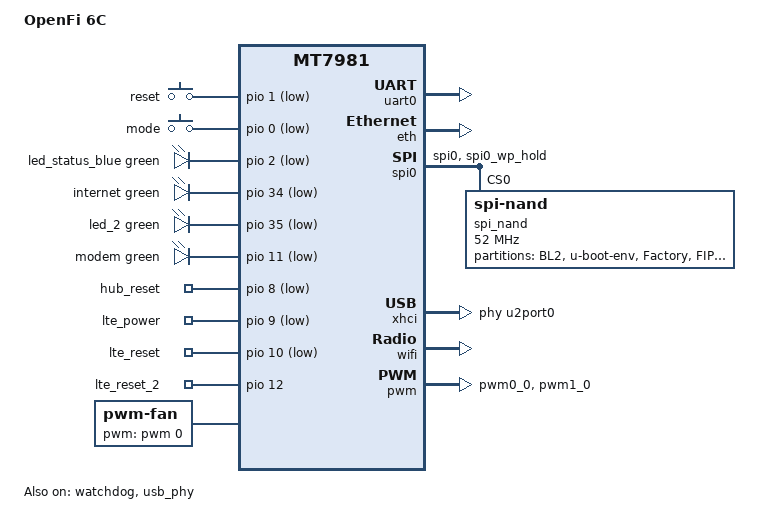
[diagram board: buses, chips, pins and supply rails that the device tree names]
// SPDX-License-Identifier: (GPL-2.0 OR MIT)

/dts-v1/;

#include <dt-bindings/leds/common.h>

#include "mt7981.dtsi"

/ {
	model = "OpenFi 6C";
	compatible = "openfi,6c", "mediatek,mt7981-spim-snand-rfb";

	aliases {
		label-mac-device = &gmac1;
		led-boot = &led_status_blue;
		led-failsafe = &led_status_blue;
		led-running = &led_status_blue;
		led-upgrade = &led_status_blue;
		serial0 = &uart0;
	};

	chosen {
		stdout-path = "serial0:115200n8";
	};

	gpio-keys {
		compatible = "gpio-keys";

		reset {
			label = "reset";
			linux,code = <KEY_RESTART>;
			gpios = <&pio 1 GPIO_ACTIVE_LOW>;
		};

		mode {
			label = "mode";
			linux,input-type = <EV_SW>;
			linux,code = <BTN_0>;
			gpios = <&pio 0 GPIO_ACTIVE_LOW>;
			debounce-interval = <60>;
		};
	};

	leds {
		compatible = "gpio-leds";

		led_status_blue:led_0 {
			function = LED_FUNCTION_STATUS;
			color = <LED_COLOR_ID_GREEN>;
			gpios = <&pio 2 GPIO_ACTIVE_LOW>;
		};

		led_1 {
			label = "internet";
			color = <LED_COLOR_ID_GREEN>;
			gpios = <&pio 34 GPIO_ACTIVE_LOW>;
		};

		led_2 {
			function = LED_FUNCTION_WLAN;
			color = <LED_COLOR_ID_GREEN>;
			gpios = <&pio 35 GPIO_ACTIVE_LOW>;
		};

		led_3 {
			label = "modem";
			color = <LED_COLOR_ID_GREEN>;
			gpios = <&pio 11 GPIO_ACTIVE_LOW>;
		};
	};

	gpio-export {
		compatible = "gpio-export";

		hub_reset {
			gpio-export,name = "hub_reset";
			gpio-export,output = <0>;
			gpios = <&pio 8 GPIO_ACTIVE_LOW>;
		};

		lte_power {
			gpio-export,name = "lte_power";
			gpio-export,output = <1>;
			gpios = <&pio 9 GPIO_ACTIVE_LOW>;
		};

		lte_reset {
			gpio-export,name = "lte_reset";
			gpio-export,output = <1>;
			gpios = <&pio 10 GPIO_ACTIVE_LOW>;
		};

		lte_reset_2 {
			gpio-export,name = "lte_reset_2";
			gpio-export,output = <0>;
			gpios = <&pio 12 GPIO_ACTIVE_HIGH>;
		};
	};

	fan: pwm-fan {
		compatible = "pwm-fan";
		#cooling-cells = <2>;
		cooling-levels = <0 10 20 30 40 50 60 70 80 90 100 110 120 130 140 150 160 170 180 190 200 210 220 240 255>;
		pwms = <&pwm 0 40000 0>;
		status = "okay";
	};
};

&uart0 {
	status = "okay";
};

&watchdog {
	status = "okay";
};

&eth {
	pinctrl-names = "default";
	pinctrl-0 = <&mdio_pins>;

	status = "okay";

	gmac0: mac@0 {
		compatible = "mediatek,eth-mac";
		reg = <0>;
		phy-mode = "2500base-x";

		fixed-link {
			speed = <2500>;
			full-duplex;
			pause;
		};
	};

	gmac1: mac@1 {
		compatible = "mediatek,eth-mac";
		reg = <1>;
		phy-mode = "gmii";
		phy-handle = <&int_gbe_phy>;
		nvmem-cells = <&macaddr 0>;
		nvmem-cell-names = "mac-address";
	};
};

&spi0 {
		pinctrl-names = "default";
		pinctrl-0 = <&spi0_flash_pins>;
		status = "okay";

		spi_nand: flash@0 {
			#address-cells = <1>;
			#size-cells = <1>;
			compatible = "spi-nand";
			reg = <0>;
			spi-max-frequency = <52000000>;

			spi-cal-enable;
			spi-cal-mode = "read-data";
			spi-cal-datalen = <7>;
			spi-cal-data = /bits/ 8 <0x53 0x50 0x49 0x4E 0x41 0x4E 0x44>;
			spi-cal-addrlen = <5>;
			spi-cal-addr = /bits/ 32 <0x0 0x0 0x0 0x0 0x0>;

			spi-tx-bus-width = <4>;
			spi-rx-bus-width = <4>;
			mediatek,nmbm;
			mediatek,bmt-max-ratio = <1>;
			mediatek,bmt-max-reserved-blocks = <64>;

			partitions {
				compatible = "fixed-partitions";
				#address-cells = <1>;
				#size-cells = <1>;

				partition@0 {
					label = "BL2";
					reg = <0x00000 0x0100000>;
					read-only;
				};

				partition@100000 {
					label = "u-boot-env";
					reg = <0x0100000 0x0080000>;
				};

				factory: partition@180000 {
					label = "Factory";
					reg = <0x180000 0x0200000>;
					macaddr: macaddr@0 {
						reg = <0x4 0x6>;
					};
				};

				partition@380000 {
					label = "FIP";
					reg = <0x380000 0x0200000>;
					read-only;
				};

				partition@580000 {
					label = "hw";
					reg = <0x0580000 0x0080000>;
				};

				partition@600000 {
					label = "cfg";
					reg = <0x0600000 0x0080000>;
				};

				partition@5c0000 {
					label = "ubi";
					reg = <0x680000 0xe980000>;
				};
			};
		};
};

&pio {
	spi0_flash_pins: spi0-pins {
		mux {
			function = "spi";
			groups = "spi0", "spi0_wp_hold";
		};
	};


	pwm_pins: pwm-pins {
		mux {
			function = "pwm";
			groups = "pwm0_0", "pwm1_0";
		};
	};
};

&usb_phy {
	status = "okay";
};

&xhci {
	mediatek,u3p-dis-msk = <0x0>;
	phys = <&u2port0 PHY_TYPE_USB2>,
	<&u3port0 PHY_TYPE_USB3>;
	status = "okay";
};

&wifi {
	status = "okay";
};

&pwm {
	pinctrl-names = "default";
	pinctrl-0 = <&pwm_pins>;
	status = "okay";
};
